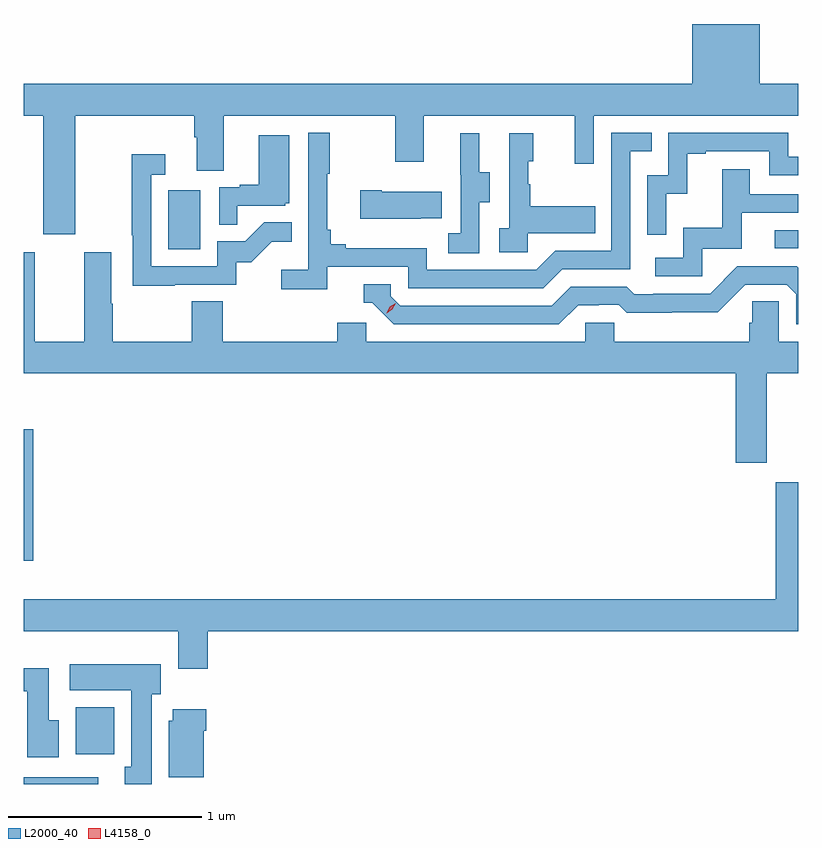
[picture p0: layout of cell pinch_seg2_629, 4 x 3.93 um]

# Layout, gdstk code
import gdstk
lib = gdstk.Library(unit=1e-6, precision=1e-09)
def R(c, l, rs):  # rectangles x0, y0, x1, y1
    for r in rs: c.add(gdstk.rectangle(r[:2], r[2:], *l))
def P(c, l, *ps):  # polygons
    for p in ps: c.add(gdstk.Polygon(p, *l))
L2000_40 = (2000, 40)
L4158_0 = (4158, 0)

pinch_seg2_629 = lib.new_cell('pinch_seg2_629')
R(pinch_seg2_629, L2000_40, [(1059.456,597.562,1059.841,597.597), (1059.725,597.716,1059.922,597.958), (1059.456,598.716,1059.503,599.396), (1060.202,600.324,1060.366,600.631), (1063.335,600.33,1063.456,600.423)])
P(pinch_seg2_629, L2000_40, [(1059.721,601.016),(1060.337,601.016),(1060.337,600.904),(1060.349,600.904),(1060.349,600.73),(1060.489,600.73),(1060.489,601.016),(1061.374,601.016),(1061.374,600.777),(1061.521,600.777),(1061.521,601.016),(1062.302,601.016),(1062.302,600.768),(1062.399,600.768),(1062.399,601.016),(1063.456,601.016),(1063.456,601.18),(1063.258,601.18),(1063.258,601.489),(1062.908,601.489),(1062.908,601.18),(1059.456,601.18),(1059.456,601.016),(1059.557,601.016),(1059.557,600.402),(1059.721,600.402)],
  [(1061.024,600.234),(1061.442,600.234),(1061.442,600.123),(1062.139,600.123),(1062.238,600.222),(1062.588,600.222),(1062.588,600.831),(1062.701,600.831),(1062.701,600.927),(1062.492,600.927),(1062.492,600.318),(1062.201,600.318),(1062.102,600.219),(1061.538,600.219),(1061.538,600.331),(1061.119,600.331),(1061.119,600.35),(1061.042,600.35),(1061.042,600.427),(1061.023,600.427),(1061.023,600.715),(1061.035,600.715),(1061.035,600.928),(1060.926,600.928),(1060.926,600.22),(1060.785,600.22),(1060.785,600.118),(1061.024,600.118)],
  [(1062.774,600.611),(1062.884,600.611),(1062.884,600.819),(1062.979,600.819),(1062.979,600.831),(1063.308,600.831),(1063.308,600.708),(1063.456,600.708),(1063.456,600.804),(1063.404,600.804),(1063.404,600.927),(1062.786,600.927),(1062.786,600.708),(1062.678,600.708),(1062.678,600.399),(1062.774,600.399)],
  [(1061.808,600.568),(1061.863,600.568),(1061.863,600.723),(1061.809,600.723),(1061.809,600.925),(1061.711,600.925),(1061.711,600.711),(1061.712,600.711),(1061.712,600.407),(1061.649,600.407),(1061.649,600.304),(1061.808,600.304)],
  [(1062.06,600.407),(1062.407,600.407),(1062.407,600.547),(1062.073,600.547),(1062.073,600.662),(1062.063,600.662),(1062.063,600.78),(1062.088,600.78),(1062.088,600.925),(1061.964,600.925),(1061.964,600.434),(1061.913,600.434),(1061.913,600.309),(1062.06,600.309)],
  [(1060.559,600.549),(1060.806,600.549),(1060.806,600.564),(1060.828,600.564),(1060.828,600.913),(1060.67,600.913),(1060.67,600.658),(1060.571,600.658),(1060.571,600.645),(1060.464,600.645),(1060.464,600.451),(1060.559,600.451)],
  [(1060.235,600.141),(1060.554,600.141),(1060.554,600.258),(1060.63,600.258),(1060.737,600.365),(1060.841,600.365),(1060.841,600.464),(1060.697,600.464),(1060.599,600.366),(1060.455,600.366),(1060.455,600.237),(1060.113,600.237),(1060.113,600.711),(1060.186,600.711),(1060.186,600.817),(1060.012,600.817),(1060.012,600.397),(1060.017,600.397),(1060.017,600.136),(1060.235,600.136)],
  [(1062.96,600.327),(1063.165,600.327),(1063.165,600.513),(1063.456,600.513),(1063.456,600.609),(1063.207,600.609),(1063.207,600.739),(1063.063,600.739),(1063.063,600.436),(1062.864,600.436),(1062.864,600.282),(1062.717,600.282),(1062.717,600.186),(1062.96,600.186)],
  [(1061.507,600.485),(1061.615,600.485),(1061.615,600.622),(1061.305,600.622),(1061.305,600.63),(1061.193,600.63),(1061.193,600.482),(1061.507,600.482)],
  [(1063.219,599.946),(1063.205,599.946),(1063.205,599.848),(1062.507,599.848),(1062.507,599.946),(1062.357,599.946),(1062.357,599.848),(1061.226,599.848),(1061.226,599.946),(1061.075,599.946),(1061.075,599.848),(1060.484,599.848),(1060.484,600.056),(1060.324,600.056),(1060.324,599.848),(1059.915,599.848),(1059.915,600.044),(1059.907,600.044),(1059.907,600.31),(1059.767,600.31),(1059.767,599.848),(1059.511,599.848),(1059.511,600.31),(1059.456,600.31),(1059.456,599.684),(1063.133,599.684),(1063.133,599.223),(1063.293,599.223),(1063.293,599.684),(1063.456,599.684),(1063.456,599.848),(1063.356,599.848),(1063.356,600.056),(1063.219,600.056)],
  [(1062.319,600.036),(1062.426,600.036),(1062.426,600.039),(1062.529,600.039),(1062.571,599.997),(1062.804,599.997),(1062.804,599.999),(1063.04,599.999),(1063.182,600.141),(1063.398,600.141),(1063.446,600.093),(1063.446,599.937),(1063.456,599.937),(1063.456,600.23),(1063.449,600.237),(1063.143,600.237),(1063.002,600.096),(1062.709,600.096),(1062.709,600.093),(1062.61,600.093),(1062.571,600.132),(1062.282,600.132),(1062.183,600.033),(1061.4,600.033),(1061.352,600.081),(1061.352,600.144),(1061.213,600.144),(1061.213,600.048),(1061.256,600.048),(1061.367,599.937),(1062.22,599.937)],
  [(1060.406,598.352),(1063.456,598.352),(1063.456,599.122),(1063.34,599.122),(1063.34,598.516),(1059.456,598.516),(1059.456,598.352),(1060.253,598.352),(1060.253,598.158),(1060.406,598.158)],
  [(1060.117,598.026),(1060.162,598.026),(1060.162,598.18),(1059.693,598.18),(1059.693,598.046),(1060.01,598.046),(1060.01,597.65),(1059.977,597.65),(1059.977,597.562),(1060.117,597.562)],
  [(1059.637,597.892),(1059.583,597.892),(1059.583,598.159),(1059.456,598.159),(1059.456,598.04),(1059.473,598.04),(1059.473,597.699),(1059.637,597.699)],
  [(1060.384,597.836),(1060.397,597.836),(1060.397,597.949),(1060.226,597.949),(1060.226,597.888),(1060.205,597.888),(1060.205,597.596),(1060.384,597.596)])
P(pinch_seg2_629, L4158_0, [(1061.33,599.994),(1061.33,599.994),(1061.345,600.027),(1061.376,600.047),(1061.376,600.047),(1061.376,600.047),(1061.36,600.014),(1061.33,599.994)])

lib.write_gds('pinch_seg2_629.gds')
